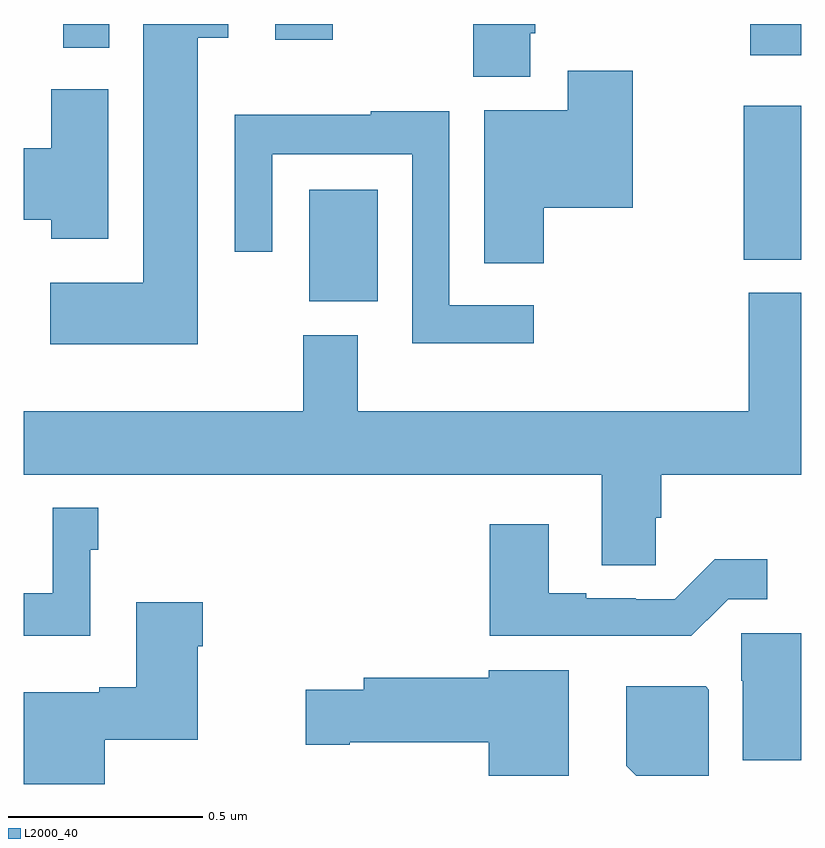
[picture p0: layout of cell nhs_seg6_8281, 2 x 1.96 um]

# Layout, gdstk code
import gdstk
lib = gdstk.Library(unit=1e-6, precision=1e-09)
def R(c, l, rs):  # rectangles x0, y0, x1, y1
    for r in rs: c.add(gdstk.rectangle(r[:2], r[2:], *l))
def P(c, l, *ps):  # polygons
    for p in ps: c.add(gdstk.Polygon(p, *l))
L2000_40 = (2000, 40)

nhs_seg6_8281 = lib.new_cell('nhs_seg6_8281')
R(nhs_seg6_8281, L2000_40, [(219.734,943.787,219.91,944.074), (220.852,943.894,221,944.29), (220.869,944.42,221,944.5), (219.102,944.439,219.22,944.5), (219.647,944.46,219.795,944.5)])
P(nhs_seg6_8281, L2000_40, [(220.303,944.476),(220.316,944.476),(220.316,944.5),(220.156,944.5),(220.156,944.364),(220.303,944.364)],
  [(219.448,944.465),(219.526,944.465),(219.526,944.5),(219.308,944.5),(219.308,943.834),(219.068,943.834),(219.068,943.676),(219.448,943.676)],
  [(220.337,944.027),(220.566,944.027),(220.566,944.38),(220.4,944.38),(220.4,944.278),(220.184,944.278),(220.184,943.884),(220.337,943.884)],
  [(219.217,944.332),(219.071,944.332),(219.071,944.18),(219,944.18),(219,943.997),(219.071,943.997),(219.071,943.947),(219.217,943.947)],
  [(220.312,943.776),(220.095,943.776),(220.095,944.276),(219.892,944.276),(219.892,944.266),(219.543,944.266),(219.543,943.914),(219.639,943.914),(219.639,944.165),(219.999,944.165),(219.999,943.679),(220.312,943.679)],
  [(220.626,943.23),(220.64,943.23),(220.64,943.34),(221,943.34),(221,943.809),(220.865,943.809),(220.865,943.504),(219.859,943.504),(219.859,943.699),(219.719,943.699),(219.719,943.504),(219,943.504),(219,943.34),(220.487,943.34),(220.487,943.108),(220.626,943.108)],
  [(219.171,943.148),(219.191,943.148),(219.191,943.255),(219.074,943.255),(219.074,943.036),(219,943.036),(219,942.926),(219.171,942.926)],
  [(220.797,943.005),(220.812,943.02),(220.912,943.02),(220.912,943.123),(220.777,943.123),(220.674,943.02),(220.574,943.02),(220.574,943.023),(220.447,943.023),(220.447,943.036),(220.351,943.036),(220.351,943.213),(220.199,943.213),(220.199,942.926),(220.717,942.926)],
  [(219.208,942.659),(219.448,942.659),(219.448,942.899),(219.461,942.899),(219.461,943.012),(219.29,943.012),(219.29,942.794),(219.194,942.794),(219.194,942.781),(219,942.781),(219,942.545),(219.208,942.545)],
  [(221,942.933),(220.846,942.933),(220.846,942.81),(220.85,942.81),(220.85,942.606),(221,942.606)],
  [(220.402,942.838),(220.196,942.838),(220.196,942.818),(219.875,942.818),(219.875,942.788),(219.726,942.788),(219.726,942.646),(219.838,942.646),(219.838,942.653),(220.196,942.653),(220.196,942.566),(220.402,942.566)],
  [(220.762,942.788),(220.754,942.796),(220.55,942.796),(220.55,942.592),(220.576,942.566),(220.762,942.566)])

lib.write_gds('nhs_seg6_8281.gds')
